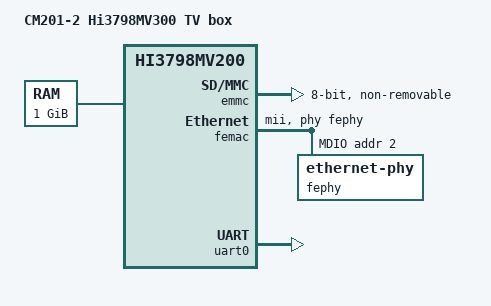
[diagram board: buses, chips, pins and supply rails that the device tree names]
// SPDX-License-Identifier: GPL-2.0
/*
 * 中国移动 CM201-2（Sunnovo 版），Hi3798MV300 机顶盒：1 GiB DDR3、8 GiB eMMC，内置 FE PHY 上单个 100 Mbit 网口。
 *
 * U-Boot 在这里是上游 TF-A BL31 的 BL33，BL31 由厂商 fastboot 经其 FIP 路径启动；BL31 常驻 EL3 并提供 PSCI。U-Boot 没有这个 SoC 的 CRG 时钟驱动，因此 U-Boot 驱动的各模块用固定时钟描述，其速率由板级文件写入 CRG（board/cmcc/cm201-2/cm201-2.c）。
 */

/dts-v1/;

#include "hi3798mv200.dtsi"

/ {
	model = "CM201-2 Hi3798MV300 TV box";
	compatible = "hisilicon,hi3798mv300-tvbox", "hisilicon,hi3798mv200";

	aliases {
		serial0 = &uart0;
		mmc0 = &emmc;
		ethernet0 = &femac;
	};

	chosen {
		stdout-path = "serial0:115200n8";
	};

	memory@0 {
		device_type = "memory";
		reg = <0x0 0x0 0x0 0x40000000>;
	};

	reserved-memory {
		#address-cells = <2>;
		#size-cells = <2>;
		ranges;

		/* TF-A BL31，整个运行期间常驻 EL3，提供 PSCI。 */
		bl31@4400000 {
			reg = <0x0 0x04400000 0x0 0x00014000>;
			no-map;
		};
	};
};

&emmc {
	fifo-depth = <256>;
	non-removable;
	bus-width = <8>;
	status = "okay";
};

&soc {
	femac: ethernet@9c30000 {
		compatible = "hisilicon,hi3798mv200-femac";
		reg = <0x9c30000 0x1000>, <0x9c31300 0x200>;
		reg-names = "port", "glb";
		#address-cells = <1>;
		#size-cells = <1>;
		ranges = <0x0 0x9c30000 0x10000>;
		phy-handle = <&fephy>;
		phy-connection-type = "mii";
		hisilicon,phy-reset-delays-us = <10000 10000 500000>;
		status = "okay";

		mdio@1100 {
			compatible = "hisilicon,hisi-femac-mdio";
			reg = <0x1100 0x20>;
			#address-cells = <1>;
			#size-cells = <0>;

			/* 本板内置 FE PHY 在 MDIO 地址 2 应答。 */
			fephy: ethernet-phy@2 {
				reg = <2>;
			};
		};
	};
};

&uart0 {
	status = "okay";
};
